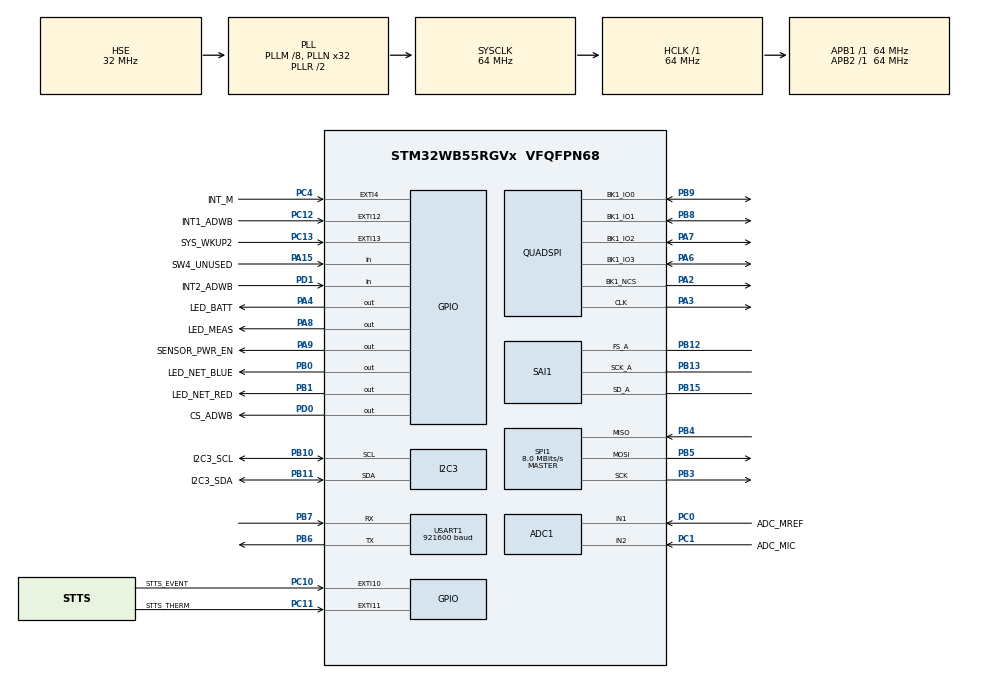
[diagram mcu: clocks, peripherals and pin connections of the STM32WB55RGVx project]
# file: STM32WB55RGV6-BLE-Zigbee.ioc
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ADC1.Channel-1\#ChannelRegularConversion=ADC_CHANNEL_1
ADC1.Channel-2\#ChannelRegularConversion=ADC_CHANNEL_2
ADC1.DMAContinuousRequests=ENABLE
ADC1.ExternalTrigConv=ADC_EXTERNALTRIG_T2_TRGO
ADC1.NbrOfConversion=2
ADC1.NbrOfConversionFlag=1
ADC1.OffsetNumber-1\#ChannelRegularConversion=ADC_OFFSET_NONE
ADC1.OffsetNumber-2\#ChannelRegularConversion=ADC_OFFSET_NONE
ADC1.Overrun=ADC_OVR_DATA_OVERWRITTEN
ADC1.Rank-1\#ChannelRegularConversion=1
ADC1.Rank-2\#ChannelRegularConversion=2
ADC1.SamplingTime-1\#ChannelRegularConversion=ADC_SAMPLETIME_47CYCLES_5
ADC1.SamplingTime-2\#ChannelRegularConversion=ADC_SAMPLETIME_47CYCLES_5
ADC1.master=1
Dma.ADC1.3.Direction=DMA_PERIPH_TO_MEMORY
Dma.ADC1.3.EventEnable=DISABLE
Dma.ADC1.3.Instance=DMA1_Channel4
Dma.ADC1.3.MemDataAlignment=DMA_MDATAALIGN_HALFWORD
Dma.ADC1.3.MemInc=DMA_MINC_ENABLE
Dma.ADC1.3.Mode=DMA_CIRCULAR
Dma.ADC1.3.PeriphDataAlignment=DMA_PDATAALIGN_HALFWORD
Dma.ADC1.3.PeriphInc=DMA_PINC_DISABLE
Dma.ADC1.3.Polarity=HAL_DMAMUX_REQ_GEN_RISING
Dma.ADC1.3.Priority=DMA_PRIORITY_VERY_HIGH
Dma.ADC1.3.RequestNumber=1
Dma.ADC1.3.SignalID=NONE
Dma.ADC1.3.SyncEnable=DISABLE
Dma.ADC1.3.SyncPolarity=HAL_DMAMUX_SYNC_NO_EVENT
Dma.ADC1.3.SyncRequestNumber=1
Dma.ADC1.3.SyncSignalID=NONE
Dma.Request0=SPI1_RX
Dma.Request1=SPI1_TX
Dma.Request2=SAI1_A
Dma.Request3=ADC1
Dma.Request4=USART1_TX
Dma.Request5=QUADSPI
Dma.QUADSPI.5.Direction=DMA_MEMORY_TO_PERIPH
Dma.QUADSPI.5.EventEnable=DISABLE
Dma.QUADSPI.5.Instance=DMA1_Channel6
Dma.QUADSPI.5.MemDataAlignment=DMA_MDATAALIGN_BYTE
Dma.QUADSPI.5.MemInc=DMA_MINC_ENABLE
Dma.QUADSPI.5.Mode=DMA_NORMAL
Dma.QUADSPI.5.PeriphDataAlignment=DMA_PDATAALIGN_BYTE
Dma.QUADSPI.5.PeriphInc=DMA_PINC_DISABLE
Dma.QUADSPI.5.Polarity=HAL_DMAMUX_REQ_GEN_RISING
Dma.QUADSPI.5.Priority=DMA_PRIORITY_HIGH
Dma.QUADSPI.5.RequestNumber=1
Dma.QUADSPI.5.SignalID=NONE
Dma.QUADSPI.5.SyncEnable=DISABLE
Dma.QUADSPI.5.SyncPolarity=HAL_DMAMUX_SYNC_NO_EVENT
Dma.QUADSPI.5.SyncRequestNumber=1
Dma.QUADSPI.5.SyncSignalID=NONE
Dma.SAI1_A.2.Direction=DMA_PERIPH_TO_MEMORY
Dma.SAI1_A.2.EventEnable=DISABLE
Dma.SAI1_A.2.Instance=DMA1_Channel3
Dma.SAI1_A.2.MemDataAlignment=DMA_MDATAALIGN_WORD
Dma.SAI1_A.2.MemInc=DMA_MINC_ENABLE
Dma.SAI1_A.2.Mode=DMA_CIRCULAR
Dma.SAI1_A.2.PeriphDataAlignment=DMA_PDATAALIGN_WORD
Dma.SAI1_A.2.PeriphInc=DMA_PINC_DISABLE
Dma.SAI1_A.2.Polarity=HAL_DMAMUX_REQ_GEN_RISING
Dma.SAI1_A.2.Priority=DMA_PRIORITY_VERY_HIGH
Dma.SAI1_A.2.RequestNumber=1
Dma.SAI1_A.2.SignalID=NONE
Dma.SAI1_A.2.SyncEnable=DISABLE
Dma.SAI1_A.2.SyncPolarity=HAL_DMAMUX_SYNC_NO_EVENT
Dma.SAI1_A.2.SyncRequestNumber=1
Dma.SAI1_A.2.SyncSignalID=NONE
Dma.SPI1_RX.0.Direction=DMA_PERIPH_TO_MEMORY
Dma.SPI1_RX.0.EventEnable=DISABLE
Dma.SPI1_RX.0.Instance=DMA1_Channel1
Dma.SPI1_RX.0.MemDataAlignment=DMA_MDATAALIGN_BYTE
Dma.SPI1_RX.0.MemInc=DMA_MINC_ENABLE
Dma.SPI1_RX.0.Mode=DMA_NORMAL
Dma.SPI1_RX.0.PeriphDataAlignment=DMA_PDATAALIGN_BYTE
Dma.SPI1_RX.0.PeriphInc=DMA_PINC_DISABLE
Dma.SPI1_RX.0.Polarity=HAL_DMAMUX_REQ_GEN_RISING
Dma.SPI1_RX.0.Priority=DMA_PRIORITY_HIGH
Dma.SPI1_RX.0.RequestNumber=1
Dma.SPI1_RX.0.SignalID=NONE
Dma.SPI1_RX.0.SyncEnable=DISABLE
Dma.SPI1_RX.0.SyncPolarity=HAL_DMAMUX_SYNC_NO_EVENT
Dma.SPI1_RX.0.SyncRequestNumber=1
Dma.SPI1_RX.0.SyncSignalID=NONE
Dma.SPI1_TX.1.Direction=DMA_MEMORY_TO_PERIPH
Dma.SPI1_TX.1.EventEnable=DISABLE
Dma.SPI1_TX.1.Instance=DMA1_Channel2
Dma.SPI1_TX.1.MemDataAlignment=DMA_MDATAALIGN_BYTE
Dma.SPI1_TX.1.MemInc=DMA_MINC_ENABLE
Dma.SPI1_TX.1.Mode=DMA_NORMAL
Dma.SPI1_TX.1.PeriphDataAlignment=DMA_PDATAALIGN_BYTE
Dma.SPI1_TX.1.PeriphInc=DMA_PINC_DISABLE
Dma.SPI1_TX.1.Polarity=HAL_DMAMUX_REQ_GEN_RISING
Dma.SPI1_TX.1.Priority=DMA_PRIORITY_MEDIUM
Dma.SPI1_TX.1.RequestNumber=1
Dma.SPI1_TX.1.SignalID=NONE
Dma.SPI1_TX.1.SyncEnable=DISABLE
Dma.SPI1_TX.1.SyncPolarity=HAL_DMAMUX_SYNC_NO_EVENT
Dma.SPI1_TX.1.SyncRequestNumber=1
Dma.SPI1_TX.1.SyncSignalID=NONE
Dma.USART1_TX.4.Direction=DMA_MEMORY_TO_PERIPH
Dma.USART1_TX.4.EventEnable=DISABLE
Dma.USART1_TX.4.Instance=DMA1_Channel5
Dma.USART1_TX.4.MemDataAlignment=DMA_MDATAALIGN_BYTE
Dma.USART1_TX.4.MemInc=DMA_MINC_ENABLE
Dma.USART1_TX.4.Mode=DMA_NORMAL
Dma.USART1_TX.4.PeriphDataAlignment=DMA_PDATAALIGN_BYTE
Dma.USART1_TX.4.PeriphInc=DMA_PINC_DISABLE
Dma.USART1_TX.4.Polarity=HAL_DMAMUX_REQ_GEN_RISING
Dma.USART1_TX.4.Priority=DMA_PRIORITY_LOW
Dma.USART1_TX.4.RequestNumber=1
Dma.USART1_TX.4.SignalID=NONE
Dma.USART1_TX.4.SyncEnable=DISABLE
Dma.USART1_TX.4.SyncPolarity=HAL_DMAMUX_SYNC_NO_EVENT
Dma.USART1_TX.4.SyncRequestNumber=1
Dma.USART1_TX.4.SyncSignalID=NONE
I2C3.I2C_Rise_Time=400
I2C3.Timing=0x10B17DB5
Mcu.Family=STM32WB
Mcu.Name=STM32WB55RGVx
Mcu.Package=VFQFPN68
NVIC.DMA1_Channel1_IRQn=true\:4\:0\:true\:false\:true\:false\:true\:true
NVIC.DMA1_Channel2_IRQn=true\:4\:0\:true\:false\:true\:false\:true\:true
NVIC.DMA1_Channel3_IRQn=true\:3\:0\:true\:false\:true\:false\:true\:true
NVIC.DMA1_Channel4_IRQn=true\:3\:0\:true\:false\:true\:false\:true\:true
NVIC.DMA1_Channel5_IRQn=true\:7\:0\:true\:false\:true\:false\:true\:true
NVIC.DMA1_Channel6_IRQn=true\:5\:0\:true\:false\:true\:false\:true\:true
NVIC.EXTI15_10_IRQn=true\:5\:0\:true\:false\:true\:true\:true\:true
NVIC.EXTI4_IRQn=true\:5\:0\:true\:false\:true\:true\:true\:true
NVIC.HSEM_IRQn=true\:0\:0\:false\:false\:true\:false\:true\:true
NVIC.IPCC_C1_RX_IRQn=true\:0\:0\:false\:false\:true\:true\:true\:true
NVIC.IPCC_C1_TX_IRQn=true\:0\:0\:false\:false\:true\:true\:true\:true
NVIC.PriorityGroup=NVIC_PRIORITYGROUP_4
NVIC.QUADSPI_IRQn=true\:5\:0\:true\:false\:true\:true\:true\:true
NVIC.RNG_IRQn=true\:0\:0\:false\:false\:true\:true\:true\:true
NVIC.RTC_WKUP_IRQn=true\:6\:0\:true\:false\:true\:true\:true\:true
NVIC.USART1_IRQn=true\:7\:0\:true\:false\:true\:true\:true\:true
OSC_IN.Mode=HSE-External-Oscillator
OSC_IN.Signal=RCC_OSC_IN
OSC_OUT.Mode=HSE-External-Oscillator
OSC_OUT.Signal=RCC_OSC_OUT
PA13.Mode=Serial_Wire
PA13.Signal=SYS_JTMS-SWDIO
PA14.Mode=Serial_Wire
PA14.Signal=SYS_JTCK-SWCLK
PA15.GPIO_Label=SW4_UNUSED
PA15.GPIO_PuPd=GPIO_NOPULL
PA15.Signal=GPIO_Input
PA2.GPIO_Speed=GPIO_SPEED_FREQ_HIGH
PA2.Mode=Single Bank 1
PA2.Signal=QUADSPI_BK1_NCS
PA3.GPIO_Speed=GPIO_SPEED_FREQ_HIGH
PA3.Mode=Single Bank 1
PA3.Signal=QUADSPI_CLK
PA4.GPIO_Label=LED_BATT
PA4.PinState=GPIO_PIN_SET
PA4.GPIO_Pu=GPIO_PULLUP
PA4.Signal=GPIO_Output
PA6.GPIO_Speed=GPIO_SPEED_FREQ_HIGH
PA6.Mode=Single Bank 1
PA6.Signal=QUADSPI_BK1_IO3
PA7.GPIO_Speed=GPIO_SPEED_FREQ_HIGH
PA7.Mode=Single Bank 1
PA7.Signal=QUADSPI_BK1_IO2
PA8.GPIO_Label=LED_MEAS
PA8.PinState=GPIO_PIN_SET
PA8.GPIO_Pu=GPIO_PULLUP
PA8.Signal=GPIO_Output
PA9.GPIO_Label=SENSOR_PWR_EN
PA9.GPIO_PuPd=GPIO_NOPULL
PA9.Signal=GPIO_Output
PB0.GPIO_Label=LED_NET_BLUE
PB0.PinState=GPIO_PIN_SET
PB0.Signal=GPIO_Output
PB1.GPIO_Label=LED_NET_RED
PB1.PinState=GPIO_PIN_RESET
PB1.Signal=GPIO_Output
PB10.GPIO_Label=I2C3_SCL
PB10.GPIO_Speed=GPIO_SPEED_FREQ_VERY_HIGH
PB10.Mode=I2C
PB10.Signal=I2C3_SCL
PB11.GPIO_Label=I2C3_SDA
PB11.GPIO_Speed=GPIO_SPEED_FREQ_VERY_HIGH
PB11.Mode=I2C
PB11.Signal=I2C3_SDA
PB12.Mode=SAI_A_Master
PB12.Signal=SAI1_FS_A
PB13.Mode=SAI_A_Master
PB13.Signal=SAI1_SCK_A
PB15.Mode=SAI_A_Master
PB15.Signal=SAI1_SD_A
PB3.Mode=Full_Duplex_Master
PB3.Signal=SPI1_SCK
PB4.Mode=Full_Duplex_Master
PB4.Signal=SPI1_MISO
PB5.Mode=Full_Duplex_Master
PB5.Signal=SPI1_MOSI
PB6.Mode=Asynchronous
PB6.Signal=USART1_TX
PB7.Mode=Asynchronous
PB7.Signal=USART1_RX
PB8.GPIO_Speed=GPIO_SPEED_FREQ_HIGH
PB8.Mode=Single Bank 1
PB8.Signal=QUADSPI_BK1_IO1
PB9.GPIO_Speed=GPIO_SPEED_FREQ_HIGH
PB9.Mode=Single Bank 1
PB9.Signal=QUADSPI_BK1_IO0
PC0.GPIO_Label=ADC_MREF
PC0.Signal=ADCx_IN1
PC1.GPIO_Label=ADC_MIC
PC1.Signal=ADCx_IN2
PC10.GPIO_Label=STTS_EVENT
PC10.GPIO_ModeDefaultEXTI=GPIO_MODE_IT_FALLING
PC10.Signal=GPXTI10
PC11.GPIO_Label=STTS_THERM
PC11.GPIO_ModeDefaultEXTI=GPIO_MODE_IT_FALLING
PC11.Signal=GPXTI11
PC12.GPIO_Label=INT1_ADWB
PC12.Signal=GPXTI12
PC13.GPIO_Label=SYS_WKUP2
PC13.GPIO_ModeDefaultEXTI=GPIO_MODE_IT_FALLING
PC13.GPIO_PuPd=GPIO_PULLUP
PC13.Signal=GPXTI13
PC4.GPIO_Label=INT_M
PC4.GPIO_ModeDefaultEXTI=GPIO_MODE_IT_RISING
PC4.Signal=GPXTI4
PC14-OSC32_IN.Mode=LSE-External-Oscillator
PC14-OSC32_IN.Signal=RCC_OSC32_IN
PC15-OSC32_OUT.Mode=LSE-External-Oscillator
PC15-OSC32_OUT.Signal=RCC_OSC32_OUT
PD0.GPIO_Label=CS_ADWB
PD0.GPIO_Speed=GPIO_SPEED_FREQ_VERY_HIGH
PD0.PinState=GPIO_PIN_SET
PD0.Signal=GPIO_Output
PD1.GPIO_Label=INT2_ADWB
PD1.Signal=GPIO_Input
ProjectManager.HeapSize=0x400
ProjectManager.StackSize=0x1000
ProjectManager.TargetToolchain=STM32CubeIDE
QUADSPI.ChipSelectHighTime=QSPI_CS_HIGH_TIME_2_CYCLE
QUADSPI.ClockPrescaler=3
QUADSPI.FifoThreshold=4
QUADSPI.FlashSize=22
QUADSPI.SampleShifting=QSPI_SAMPLE_SHIFTING_HALFCYCLE
RCC.ADCFreq_Value=48000000
RCC.AHB2CLKDivider=RCC_SYSCLK_DIV2
RCC.AHBFreq_Value=64000000
RCC.APB1Freq_Value=64000000
RCC.APB1TimFreq_Value=64000000
RCC.APB2Freq_Value=64000000
RCC.APB2TimFreq_Value=64000000
RCC.APB3Freq_Value=16000000
RCC.CK48CLockSelection=RCC_USBCLKSOURCE_HSI48
RCC.Cortex2_Div=SYSTICK_CLKSOURCE_HCLK_DIV8
RCC.CortexFreq_Value=64000000
RCC.HCLKFreq_Value=64000000
RCC.HSE_VALUE=32000000
RCC.HSI48_VALUE=48000000
RCC.HSI_VALUE=16000000
RCC.MSIClockRange=RCC_MSIRANGE_11
RCC.PLLM=RCC_PLLM_DIV8
RCC.PLLN=32
RCC.PLLQ=RCC_PLLQ_DIV2
RCC.PLLSAI1N=24
RCC.PLLSourceVirtual=RCC_PLLSOURCE_HSE
RCC.RFWKPClockSelection=RCC_RFWKPCLKSOURCE_LSE
RCC.RNGCLockSelection=RCC_RNGCLKSOURCE_CLK48
RCC.RTCClockSelection=RCC_RTCCLKSOURCE_LSE
RCC.SMPSCLockSelection=RCC_SMPSCLKSOURCE_HSE
RCC.SMPSDivider=4
RCC.SYSCLKFreq_VALUE=64000000
RCC.SYSCLKSource=RCC_SYSCLKSOURCE_PLLCLK
RCC.USBFreq_Value=48000000
RCC.VCOOutputFreq_Value=128000000
RF1.Mode=RF1_Activate
RF1.Signal=RF_RF1
RTC.WakeUpCounter-WakeUp=65535
SAI1.AudioFrequency-SAI_A_Master=SAI_AUDIO_FREQUENCY_48K
SAI1.AudioMode-SAI_A_Master=SAI_MODEMASTER_RX
SAI1.BasicDataSize-SAI_A_Master=SAI_PROTOCOL_DATASIZE_24BIT
SAI1.ErrorAudioFreq-SAI_A_Master=-2.34 %
SAI1.FIFOThreshold-SAI_A_Master=SAI_FIFOTHRESHOLD_1QF
SAI1.InitProtocol-SAI_A_Master=Enable
SAI1.Instance-SAI_A_Master=SAI$Index_Block_A
SAI1.MClockEnable-SAI_A_Master=SAI_MASTERCLOCK_DISABLE
SAI1.NoDivider-SAI_A_Master=SAI_MASTERDIVIDER_ENABLE
SAI1.RealAudioFreq-SAI_A_Master=46.875 KHz
SAI1.VirtualMode-SAI_A_Master=VM_MASTER
SAI1.VirtualProtocol-SAI_A_BASIC=VM_BASIC_PROTOCOL
SH.ADCx_IN1.0=ADC1_IN1,IN1-Single-Ended
SH.ADCx_IN2.0=ADC1_IN2,IN2-Single-Ended
SPI1.BaudRatePrescaler=SPI_BAUDRATEPRESCALER_8
SPI1.CLKPhase=SPI_PHASE_1EDGE
SPI1.CLKPolarity=SPI_POLARITY_LOW
SPI1.CalculateBaudRate=8.0 MBits/s
SPI1.DataSize=SPI_DATASIZE_8BIT
SPI1.Direction=SPI_DIRECTION_2LINES
SPI1.Mode=SPI_MODE_MASTER
SPI1.VirtualType=VM_MASTER
STM32_WPAN.AD_TYPE_COMPLETE_LOCAL_NAME=WB55_DT1
STM32_WPAN.AD_TYPE_COMPLETE_LOCAL_NAME_LENGTH=9
STM32_WPAN.CFG_BLE_MAX_ATT_MTU=251
STM32_WPAN.CFG_BLE_MAX_TX_POWER=6
STM32_WPAN.CFG_BLE_MIN_TX_POWER=-40
STM32_WPAN.CFG_BLE_NUM_LINK=1
STM32_WPAN.CFG_DEBUG_TRACE_UART=hw_uart1
STM32_WPAN.CFG_GAP_DEVICE_NAME=WB55_DT1
STM32_WPAN.CFG_GAP_DEVICE_NAME_LENGTH=8
STM32_WPAN.CFG_HW_USART1_ENABLED=1
STM32_WPAN.CFG_LSCLK_LSE=0
STM32_WPAN.CFG_MITM_PROTECTION=CFG_MITM_PROTECTION_NOT_REQUIRED
STM32_WPAN.CFG_TX_POWER=(0x19) /* 0dBm */
STM32_WPAN.CFG_USE_SMPS=0
STM32_WPAN.CUSTOM_P2P_SERVER=Disabled
STM32_WPAN.CUSTOM_TEMPLATE=Enabled
STM32_WPAN.GAP_PERIPHERAL_ROLE=1
STM32_WPAN.INCLUDE_AD_TYPE_COMPLETE_LOCAL_NAME=1
STM32_WPAN.L2CAP_REQUEST_NEW_CONN_PARAM=1
STM32_WPAN.LOCAL_NAME=WB55_DT1
STM32_WPAN.LOCAL_NAME_FORMATTED=,'W','B','5','5','_','D','T','1'
STM32_WPAN.NUMBER_OF_SERVICES=2
STM32_WPAN.P2P_SERVER_NUMBER=P2P_SERVER1
STM32_WPAN.SERVICE1_CHAR1_GATT_NOTIFY_NOTIFICATION_COMPLETION=GATT_NOTIFY_NOTIFICATION_COMPLETION
STM32_WPAN.SERVICE1_CHAR1_GATT_NOTIFY_READ_REQ_AND_WAIT_FOR_APPL_RESP=\ 
STM32_WPAN.SERVICE1_CHAR1_GATT_NOTIFY_WRITE_REQ_AND_WAIT_FOR_APPL_RESP=\ 
STM32_WPAN.SERVICE1_CHAR1_LENGTH_CHARACTERISTIC=CHAR_VALUE_LEN_VARIABLE
STM32_WPAN.SERVICE1_CHAR1_LONG_NAME=SENSOR_STATUS_CHAR
STM32_WPAN.SERVICE1_CHAR1_PROP_NOTIFY=CHAR_PROP_NOTIFY
STM32_WPAN.SERVICE1_CHAR1_SHORT_NAME=SENSOR_STATUS
STM32_WPAN.SERVICE1_CHAR1_UUID=FE 81
STM32_WPAN.SERVICE1_CHAR1_UUID_TYPE=0x01
STM32_WPAN.SERVICE1_CHAR1_VALUE_LENGTH=32
STM32_WPAN.SERVICE1_CHAR2_GATT_NOTIFY_READ_REQ_AND_WAIT_FOR_APPL_RESP=\ 
STM32_WPAN.SERVICE1_CHAR2_GATT_NOTIFY_WRITE_REQ_AND_WAIT_FOR_APPL_RESP=\ 
STM32_WPAN.SERVICE1_CHAR2_LENGTH_CHARACTERISTIC=CHAR_VALUE_LEN_VARIABLE
STM32_WPAN.SERVICE1_CHAR2_LONG_NAME=SENSOR_CTRL_CHAR
STM32_WPAN.SERVICE1_CHAR2_PROP_READ=CHAR_PROP_READ
STM32_WPAN.SERVICE1_CHAR2_PROP_WRITE_WITHOUT_RESP=CHAR_PROP_WRITE_WITHOUT_RESP
STM32_WPAN.SERVICE1_CHAR2_SHORT_NAME=SENSOR_CTRL
STM32_WPAN.SERVICE1_CHAR2_UUID=FE 82
STM32_WPAN.SERVICE1_CHAR2_UUID_TYPE=0x01
STM32_WPAN.SERVICE1_CHAR2_VALUE_LENGTH=4
STM32_WPAN.SERVICE1_CHAR3_GATT_NOTIFY_READ_REQ_AND_WAIT_FOR_APPL_RESP=\ 
STM32_WPAN.SERVICE1_CHAR3_GATT_NOTIFY_WRITE_REQ_AND_WAIT_FOR_APPL_RESP=\ 
STM32_WPAN.SERVICE1_CHAR3_LENGTH_CHARACTERISTIC=CHAR_VALUE_LEN_VARIABLE
STM32_WPAN.SERVICE1_CHAR3_LONG_NAME=DT_THROUGH_CHAR
STM32_WPAN.SERVICE1_CHAR3_PROP_NOTIFY=CHAR_PROP_NOTIFY
STM32_WPAN.SERVICE1_CHAR3_SHORT_NAME=THROUGH_CHAR
STM32_WPAN.SERVICE1_CHAR3_UUID=FE 83
STM32_WPAN.SERVICE1_CHAR3_UUID_TYPE=0x01
STM32_WPAN.SERVICE1_CHAR3_VALUE_LENGTH=255
STM32_WPAN.SERVICE1_LONG_NAME=SENSOR_SERVICE
STM32_WPAN.SERVICE1_NUMBER_OF_CHARACTERISTICS=2
STM32_WPAN.SERVICE1_SHORT_NAME=SENSOR
STM32_WPAN.SERVICE1_UUID=FE 80
STM32_WPAN.SERVICE1_UUID_TYPE=0x01
STM32_WPAN.SERVICE2_CHAR1_GATT_NOTIFY_NOTIFICATION_COMPLETION=GATT_NOTIFY_NOTIFICATION_COMPLETION
STM32_WPAN.SERVICE2_CHAR1_GATT_NOTIFY_READ_REQ_AND_WAIT_FOR_APPL_RESP=\ 
STM32_WPAN.SERVICE2_CHAR1_GATT_NOTIFY_WRITE_REQ_AND_WAIT_FOR_APPL_RESP=\ 
STM32_WPAN.SERVICE2_CHAR1_LENGTH_CHARACTERISTIC=CHAR_VALUE_LEN_VARIABLE
STM32_WPAN.SERVICE2_CHAR1_LONG_NAME=VIB_WAVE_CHAR
STM32_WPAN.SERVICE2_CHAR1_PROP_NOTIFY=CHAR_PROP_NOTIFY
STM32_WPAN.SERVICE2_CHAR1_SHORT_NAME=VIB_WAVE
STM32_WPAN.SERVICE2_CHAR1_UUID=FE 91
STM32_WPAN.SERVICE2_CHAR1_UUID_TYPE=0x01
STM32_WPAN.SERVICE2_CHAR1_VALUE_LENGTH=244
STM32_WPAN.SERVICE2_CHAR2_GATT_NOTIFY_READ_REQ_AND_WAIT_FOR_APPL_RESP=\ 
STM32_WPAN.SERVICE2_CHAR2_GATT_NOTIFY_WRITE_REQ_AND_WAIT_FOR_APPL_RESP=\ 
STM32_WPAN.SERVICE2_CHAR2_LENGTH_CHARACTERISTIC=CHAR_VALUE_LEN_VARIABLE
STM32_WPAN.SERVICE2_CHAR2_LONG_NAME=VIB_CTRL_CHAR
STM32_WPAN.SERVICE2_CHAR2_PROP_READ=CHAR_PROP_READ
STM32_WPAN.SERVICE2_CHAR2_PROP_WRITE_WITHOUT_RESP=CHAR_PROP_WRITE_WITHOUT_RESP
STM32_WPAN.SERVICE2_CHAR2_SHORT_NAME=VIB_CTRL
STM32_WPAN.SERVICE2_CHAR2_UUID=FE 92
STM32_WPAN.SERVICE2_CHAR2_UUID_TYPE=0x01
STM32_WPAN.SERVICE2_CHAR2_VALUE_LENGTH=4
STM32_WPAN.SERVICE2_LONG_NAME=VIB_SERVICE
STM32_WPAN.SERVICE2_NUMBER_OF_CHARACTERISTICS=2
STM32_WPAN.SERVICE2_SHORT_NAME=VIB
STM32_WPAN.SERVICE2_UUID=FE 90
STM32_WPAN.SERVICE2_UUID_TYPE=0x01
TIM2.Period=249
TIM2.TIM_MasterOutputTrigger=TIM_TRGO_UPDATE
USART1.BaudRate=921600
USART1.VirtualMode-Asynchronous=VM_ASYNC
VP_HSEM_VS_HSEM.Mode=HSEM_Activate
VP_IPCC_VS_IPCC.Mode=IPCC_Activate
VP_MEMORYMAP_VS_MEMORYMAP.Mode=CurAppReg
VP_RNG_VS_RNG.Mode=RNG_Activate
VP_RTC_VS_RTC_Activate.Mode=RTC_Enabled
VP_RTC_VS_RTC_WakeUp_intern.Mode=WakeUp
VP_SAI1_VP_$IpInstance_SAIA_SAI_BASIC.Mode=SAI_A_BASIC
VP_SEQUENCER_VS_SEQUENCER.Mode=SEQUENCER_Enabled
VP_STM32_WPAN_VS_BLE_HOST.Mode=STM32_WPAN_Enabled
VP_TIM2_VS_ClockSourceINT.Mode=Internal
VP_TINY_LPM_VS_TINY_LPM.Mode=TINY_LPM_Enabled
board=custom

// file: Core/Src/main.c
/* USER CODE BEGIN Header */
/**
  ******************************************************************************
  * @file           : main.c
  * @brief          : Main program body
  ******************************************************************************
  * @attention
  *
  * Copyright (c) 2026 STMicroelectronics.
  * All rights reserved.
  *
  * This software is licensed under terms that can be found in the LICENSE file
  * in the root directory of this software component.
  * If no LICENSE file comes with this software, it is provided AS-IS.
  *
  ******************************************************************************
  */
/* USER CODE END Header */
#include "main.h"

/* USER CODE BEGIN Includes */
#include "custom_app.h"
#include "app_entry.h"
#include "download_reset.h"
#include "zigbee_vibration_store.h"
#include <stdio.h>
#include <string.h>

/* USER CODE END Includes */

ADC_HandleTypeDef hadc1;
DMA_HandleTypeDef hdma_adc1;

I2C_HandleTypeDef hi2c3;

IPCC_HandleTypeDef hipcc;

QSPI_HandleTypeDef hqspi;
DMA_HandleTypeDef hdma_quadspi;

RNG_HandleTypeDef hrng;

RTC_HandleTypeDef hrtc;

SAI_HandleTypeDef hsai_BlockA1;
DMA_HandleTypeDef hdma_sai1_a;

SPI_HandleTypeDef hspi1;
DMA_HandleTypeDef hdma_spi1_rx;
DMA_HandleTypeDef hdma_spi1_tx;

TIM_HandleTypeDef htim2;

UART_HandleTypeDef huart1;
DMA_HandleTypeDef hdma_usart1_tx;

/* USER CODE BEGIN PV */
/* Downloaded anew even when the application binary did not change. Runtime
   never programs over this double word: erase its dedicated page first (ECC). */
static const uint64_t DownloadResetImage
    __attribute__((section(".download_reset"), used, aligned(8))) = DOWNLOAD_RESET_ARMED;
#include "node_console.h"
/* USER CODE END PV */

void SystemClock_Config(void);
void PeriphCommonClock_Config(void);
static void MX_GPIO_Init(void);
static void MX_DMA_Init(void);
static void MX_IPCC_Init(void);
static void MX_RNG_Init(void);
static void MX_RTC_Init(void);
static void MX_USART1_UART_Init(void);
static void MX_SPI1_Init(void);
static void MX_I2C3_Init(void);
static void MX_ADC1_Init(void);
static void MX_TIM2_Init(void);
static void MX_SAI1_Init(void);
static void MX_QUADSPI_Init(void);
static void MX_RF_Init(void);

/* USER CODE BEGIN 0 */
static void DownloadReset_Log(const char *message)
{
  (void)HAL_UART_Transmit(&huart1, (uint8_t *)message,
                         (uint16_t)strlen(message), 1000U);
}

static uint64_t DownloadReset_Marker(void *context)
{
  UNUSED(context);
  return *(volatile const uint64_t *)(uintptr_t)DOWNLOAD_RESET_ADDRESS;
}

static int DownloadReset_DiscardRecords(void *context)
{
  UNUSED(context);
  /* This runs BEFORE MX_APPE_Init starts CPU2. Never bypass the existing
     dual-core Flash arbitration if a debug session left CPU2 running. */
  if ((PWR->CR4 & PWR_CR4_C2BOOT) != 0U) {
    DownloadReset_Log("FLASH-CLEAR: CPU2 already running; use hardware reset/Connect under reset\r\n");
    return 0;
  }
  DownloadReset_Log("FLASH-CLEAR: download detected; invalidating old collection records (no external erase)\r\n");
  return ZigbeeVibrationStore_ResetRecords() == HAL_OK;
}

static int DownloadReset_Commit(void *context)
{
  UNUSED(context);
  _Static_assert(FLASH_PAGE_SIZE == DOWNLOAD_RESET_PAGE_BYTES, "download marker page geometry");
  if ((PWR->CR4 & PWR_CR4_C2BOOT) != 0U ||
      (uintptr_t)&DownloadResetImage != DOWNLOAD_RESET_ADDRESS) return 0;
  if (HAL_FLASH_Unlock() != HAL_OK) return 0;
  __HAL_FLASH_CLEAR_FLAG(FLASH_FLAG_OPTVERR);
  FLASH_EraseInitTypeDef erase = {0};
  erase.TypeErase = FLASH_TYPEERASE_PAGES;
  erase.Page = (DOWNLOAD_RESET_ADDRESS - FLASH_BASE) / FLASH_PAGE_SIZE;
  erase.NbPages = 1U;
  uint32_t error_page = UINT32_MAX;
  HAL_StatusTypeDef status = HAL_FLASHEx_Erase(&erase, &error_page);
  if (status == HAL_OK && error_page == UINT32_MAX)
    status = HAL_FLASH_Program(FLASH_TYPEPROGRAM_DOUBLEWORD,
                               DOWNLOAD_RESET_ADDRESS, DOWNLOAD_RESET_DONE);
  else status = HAL_ERROR;
  if (HAL_FLASH_Lock() != HAL_OK) status = HAL_ERROR;
  if (READ_BIT(FLASH->ACR, FLASH_ACR_DCEN) != 0U) {
    __HAL_FLASH_DATA_CACHE_DISABLE();
    __HAL_FLASH_DATA_CACHE_RESET();
    __HAL_FLASH_DATA_CACHE_ENABLE();
  }
  return status == HAL_OK;
}

static void DownloadReset_Boot(void)
{
  const DownloadResetIO io = {NULL, DownloadReset_Marker, DownloadReset_DiscardRecords, DownloadReset_Commit};
  int result = download_reset_run(&io);
  if (result < 0) {
    DownloadReset_Log("FLASH-CLEAR: FAILED; sampling/radio NOT started; reset to retry cleanup\r\n");
    Error_Handler();
  }
  DownloadReset_Log(result ? "FLASH-CLEAR: complete; old records invalidated; payload retained; marker committed\r\n" :
                            "FLASH-CLEAR: already completed for this download; cached data retained\r\n");
}
/* USER CODE END 0 */

int main(void)
{

  /* MCU Configuration--------------------------------------------------------*/

  /* Reset of all peripherals, Initializes the Flash interface and the Systick. */
  HAL_Init();
  /* Config code for STM32_WPAN (HSE Tuning must be done before system clock configuration) */
  MX_APPE_Config();

  /* Configure the system clock */
  SystemClock_Config();

  /* Configure the peripherals common clocks */
  PeriphCommonClock_Config();

  /* IPCC initialisation */
  MX_IPCC_Init();

  /* Initialize all configured peripherals */
  MX_GPIO_Init();
  MX_DMA_Init();
  MX_RNG_Init();
  MX_RTC_Init();
  APP_TimebaseReset();
  MX_USART1_UART_Init();
  MX_SPI1_Init();
  MX_QUADSPI_Init();
  MX_I2C3_Init();
  MX_ADC1_Init();
  MX_TIM2_Init();
  MX_SAI1_Init();
  MX_RF_Init();
  /* USER CODE BEGIN 2 */
  /* Keep the power LED on while the application is running. */
  HAL_GPIO_WritePin(LED_BATT_GPIO_Port, LED_BATT_Pin, GPIO_PIN_RESET);
  char uart_test[64];
  uint32_t boot_ms = APP_ElapsedMs();
  int uart_test_len = snprintf(uart_test, sizeof(uart_test),
                               "[+%lu.%03lus] USART1 OK\r\n",
                               (unsigned long)(boot_ms / 1000U),
                               (unsigned long)(boot_ms % 1000U));
  if (uart_test_len > 0)
  {
    HAL_UART_Transmit(&huart1, (uint8_t *)uart_test,
                      (uint16_t)uart_test_len, 100U);
  }
  DownloadReset_Boot();
  /* USER CODE END 2 */

  /* Init code for STM32_WPAN */
  MX_APPE_Init();
  NodeConsole_Init();

  /* Infinite loop */
  while (1)
  {
    /* Drain latency-sensitive sensor DMA halves before a sequencer batch. */
    Custom_APP_Process();
    MX_APPE_Process();

    /* USER CODE BEGIN 3 */
    static uint8_t main_loop_logged = 0U;
    if (main_loop_logged == 0U)
    {
      static const uint8_t loop_msg[] = "MAIN: sequencer running\r\n";
      main_loop_logged = 1U;
      (void)HAL_UART_Transmit(&huart1, (uint8_t *)loop_msg,
                             sizeof(loop_msg) - 1U, 100U);
    }
    /* Service sensor DMA again after CPU2/BLE/Zigbee work. */
    Custom_APP_Process();
  }
  /* USER CODE END 3 */
}

void SystemClock_Config(void)
{
  RCC_OscInitTypeDef RCC_OscInitStruct = {0};
  RCC_ClkInitTypeDef RCC_ClkInitStruct = {0};

  /** Configure LSE Drive Capability
  */
  HAL_PWR_EnableBkUpAccess();
  __HAL_RCC_LSEDRIVE_CONFIG(RCC_LSEDRIVE_MEDIUMHIGH);

  /** Configure the main internal regulator output voltage
  */
  __HAL_PWR_VOLTAGESCALING_CONFIG(PWR_REGULATOR_VOLTAGE_SCALE1);

  /** Initializes the RCC Oscillators according to the specified parameters
  * in the RCC_OscInitTypeDef structure.
  */
  RCC_OscInitStruct.OscillatorType = RCC_OSCILLATORTYPE_HSI48|RCC_OSCILLATORTYPE_HSI
                              |RCC_OSCILLATORTYPE_HSE|RCC_OSCILLATORTYPE_LSE;
  RCC_OscInitStruct.HSEState = RCC_HSE_ON;
  RCC_OscInitStruct.LSEState = RCC_LSE_ON;
  RCC_OscInitStruct.HSIState = RCC_HSI_ON;
  RCC_OscInitStruct.HSI48State = RCC_HSI48_ON;
  RCC_OscInitStruct.HSICalibrationValue = RCC_HSICALIBRATION_DEFAULT;
  RCC_OscInitStruct.PLL.PLLState = RCC_PLL_ON;
  RCC_OscInitStruct.PLL.PLLSource = RCC_PLLSOURCE_HSE;
  RCC_OscInitStruct.PLL.PLLM = RCC_PLLM_DIV8;
  RCC_OscInitStruct.PLL.PLLN = 32;
  RCC_OscInitStruct.PLL.PLLP = RCC_PLLP_DIV2;
  RCC_OscInitStruct.PLL.PLLR = RCC_PLLR_DIV2;
  RCC_OscInitStruct.PLL.PLLQ = RCC_PLLQ_DIV2;
  if (HAL_RCC_OscConfig(&RCC_OscInitStruct) != HAL_OK)
  {
    Error_Handler();
  }

  /** Configure the SYSCLKSource, HCLK, PCLK1 and PCLK2 clocks dividers
  */
  RCC_ClkInitStruct.ClockType = RCC_CLOCKTYPE_HCLK4|RCC_CLOCKTYPE_HCLK2
                              |RCC_CLOCKTYPE_HCLK|RCC_CLOCKTYPE_SYSCLK
                              |RCC_CLOCKTYPE_PCLK1|RCC_CLOCKTYPE_PCLK2;
  RCC_ClkInitStruct.SYSCLKSource = RCC_SYSCLKSOURCE_PLLCLK;
  RCC_ClkInitStruct.AHBCLKDivider = RCC_SYSCLK_DIV1;
  RCC_ClkInitStruct.APB1CLKDivider = RCC_HCLK_DIV1;
  RCC_ClkInitStruct.APB2CLKDivider = RCC_HCLK_DIV1;
  RCC_ClkInitStruct.AHBCLK2Divider = RCC_SYSCLK_DIV2;
  RCC_ClkInitStruct.AHBCLK4Divider = RCC_SYSCLK_DIV1;

  if (HAL_RCC_ClockConfig(&RCC_ClkInitStruct, FLASH_LATENCY_3) != HAL_OK)
  {
    Error_Handler();
  }
}

void PeriphCommonClock_Config(void)
{
  RCC_PeriphCLKInitTypeDef PeriphClkInitStruct = {0};

  /** Initializes the peripherals clock
  */
  PeriphClkInitStruct.PeriphClockSelection = RCC_PERIPHCLK_SMPS|RCC_PERIPHCLK_RFWAKEUP
                              |RCC_PERIPHCLK_SAI1|RCC_PERIPHCLK_ADC;
  PeriphClkInitStruct.PLLSAI1.PLLN = 24;
  PeriphClkInitStruct.PLLSAI1.PLLP = RCC_PLLP_DIV2;
  PeriphClkInitStruct.PLLSAI1.PLLQ = RCC_PLLQ_DIV2;
  PeriphClkInitStruct.PLLSAI1.PLLR = RCC_PLLR_DIV2;
  PeriphClkInitStruct.PLLSAI1.PLLSAI1ClockOut = RCC_PLLSAI1_SAI1CLK|RCC_PLLSAI1_ADCCLK;
  PeriphClkInitStruct.Sai1ClockSelection = RCC_SAI1CLKSOURCE_PLLSAI1;
  PeriphClkInitStruct.AdcClockSelection = RCC_ADCCLKSOURCE_PLLSAI1;
  PeriphClkInitStruct.RFWakeUpClockSelection = RCC_RFWKPCLKSOURCE_LSE;
  PeriphClkInitStruct.SmpsClockSelection = RCC_SMPSCLKSOURCE_HSE;
  PeriphClkInitStruct.SmpsDivSelection = RCC_SMPSCLKDIV_RANGE1;

  if (HAL_RCCEx_PeriphCLKConfig(&PeriphClkInitStruct) != HAL_OK)
  {
    Error_Handler();
  }
}

static void MX_ADC1_Init(void)
{

  ADC_ChannelConfTypeDef sConfig = {0};

  /** Common config
  */
  hadc1.Instance = ADC1;
  hadc1.Init.ClockPrescaler = ADC_CLOCK_ASYNC_DIV1;
  hadc1.Init.Resolution = ADC_RESOLUTION_12B;
  hadc1.Init.DataAlign = ADC_DATAALIGN_RIGHT;
  hadc1.Init.ScanConvMode = ADC_SCAN_ENABLE;
  hadc1.Init.EOCSelection = ADC_EOC_SINGLE_CONV;
  hadc1.Init.LowPowerAutoWait = DISABLE;
  hadc1.Init.ContinuousConvMode = DISABLE;
  hadc1.Init.NbrOfConversion = 2;
  hadc1.Init.DiscontinuousConvMode = DISABLE;
  hadc1.Init.ExternalTrigConv = ADC_EXTERNALTRIG_T2_TRGO;
  hadc1.Init.ExternalTrigConvEdge = ADC_EXTERNALTRIGCONVEDGE_RISING;
  hadc1.Init.DMAContinuousRequests = ENABLE;
  hadc1.Init.Overrun = ADC_OVR_DATA_OVERWRITTEN;
  hadc1.Init.OversamplingMode = DISABLE;
  if (HAL_ADC_Init(&hadc1) != HAL_OK)
  {
    Error_Handler();
  }

  /** Configure Regular Channel
  */
  sConfig.Channel = ADC_CHANNEL_1;
  sConfig.Rank = ADC_REGULAR_RANK_1;
  sConfig.SamplingTime = ADC_SAMPLETIME_47CYCLES_5;
  sConfig.SingleDiff = ADC_SINGLE_ENDED;
  sConfig.OffsetNumber = ADC_OFFSET_NONE;
  sConfig.Offset = 0;
  if (HAL_ADC_ConfigChannel(&hadc1, &sConfig) != HAL_OK)
  {
    Error_Handler();
  }

  /** Configure Regular Channel
  */
  sConfig.Channel = ADC_CHANNEL_2;
  sConfig.Rank = ADC_REGULAR_RANK_2;
  if (HAL_ADC_ConfigChannel(&hadc1, &sConfig) != HAL_OK)
  {
    Error_Handler();
  }

}

static void MX_I2C3_Init(void)
{

  hi2c3.Instance = I2C3;
  hi2c3.Init.Timing = 0x10B17DB5;
  hi2c3.Init.OwnAddress1 = 0;
  hi2c3.Init.AddressingMode = I2C_ADDRESSINGMODE_7BIT;
  hi2c3.Init.DualAddressMode = I2C_DUALADDRESS_DISABLE;
  hi2c3.Init.OwnAddress2 = 0;
  hi2c3.Init.OwnAddress2Masks = I2C_OA2_NOMASK;
  hi2c3.Init.GeneralCallMode = I2C_GENERALCALL_DISABLE;
  hi2c3.Init.NoStretchMode = I2C_NOSTRETCH_DISABLE;
  if (HAL_I2C_Init(&hi2c3) != HAL_OK)
  {
    Error_Handler();
  }

  /** Configure Analogue filter
  */
  if (HAL_I2CEx_ConfigAnalogFilter(&hi2c3, I2C_ANALOGFILTER_ENABLE) != HAL_OK)
  {
    Error_Handler();
  }

  /** Configure Digital filter
  */
  if (HAL_I2CEx_ConfigDigitalFilter(&hi2c3, 0) != HAL_OK)
  {
    Error_Handler();
  }

}

static void MX_IPCC_Init(void)
{

  hipcc.Instance = IPCC;
  if (HAL_IPCC_Init(&hipcc) != HAL_OK)
  {
    Error_Handler();
  }

}

static void MX_RF_Init(void)
{

}

static void MX_QUADSPI_Init(void)
{

  hqspi.Instance = QUADSPI;
  hqspi.Init.ClockPrescaler = 3;
  hqspi.Init.FifoThreshold = 4;
  hqspi.Init.SampleShifting = QSPI_SAMPLE_SHIFTING_HALFCYCLE;
  hqspi.Init.FlashSize = 22;
  hqspi.Init.ChipSelectHighTime = QSPI_CS_HIGH_TIME_2_CYCLE;
  hqspi.Init.ClockMode = QSPI_CLOCK_MODE_0;
  if (HAL_QSPI_Init(&hqspi) != HAL_OK)
  {
    Error_Handler();
  }

}

static void MX_RNG_Init(void)
{

  hrng.Instance = RNG;
  hrng.Init.ClockErrorDetection = RNG_CED_ENABLE;
  if (HAL_RNG_Init(&hrng) != HAL_OK)
  {
    Error_Handler();
  }

}

static void MX_RTC_Init(void)
{

  /** Initialize RTC Only
  */
  hrtc.Instance = RTC;
  hrtc.Init.HourFormat = RTC_HOURFORMAT_24;
  hrtc.Init.AsynchPrediv = CFG_RTC_ASYNCH_PRESCALER;
  hrtc.Init.SynchPrediv = CFG_RTC_SYNCH_PRESCALER;
  hrtc.Init.OutPut = RTC_OUTPUT_DISABLE;
  hrtc.Init.OutPutPolarity = RTC_OUTPUT_POLARITY_HIGH;
  hrtc.Init.OutPutType = RTC_OUTPUT_TYPE_OPENDRAIN;
  hrtc.Init.OutPutRemap = RTC_OUTPUT_REMAP_NONE;
  if (HAL_RTC_Init(&hrtc) != HAL_OK)
  {
    Error_Handler();
  }

  /** Enable the WakeUp
  */
  if (HAL_RTCEx_SetWakeUpTimer_IT(&hrtc, 65535, RTC_WAKEUPCLOCK_RTCCLK_DIV16) != HAL_OK)
  {
    Error_Handler();
  }

}

static void MX_SAI1_Init(void)
{

  hsai_BlockA1.Instance = SAI1_Block_A;
  hsai_BlockA1.Init.AudioMode = SAI_MODEMASTER_RX;
  hsai_BlockA1.Init.Synchro = SAI_ASYNCHRONOUS;
  hsai_BlockA1.Init.OutputDrive = SAI_OUTPUTDRIVE_DISABLE;
  hsai_BlockA1.Init.NoDivider = SAI_MASTERDIVIDER_ENABLE;
  hsai_BlockA1.Init.MckOverSampling = SAI_MCK_OVERSAMPLING_DISABLE;
  hsai_BlockA1.Init.FIFOThreshold = SAI_FIFOTHRESHOLD_1QF;
  hsai_BlockA1.Init.AudioFrequency = SAI_AUDIO_FREQUENCY_48K;
  hsai_BlockA1.Init.SynchroExt = SAI_SYNCEXT_DISABLE;
  hsai_BlockA1.Init.MonoStereoMode = SAI_STEREOMODE;
  hsai_BlockA1.Init.CompandingMode = SAI_NOCOMPANDING;
  if (HAL_SAI_InitProtocol(&hsai_BlockA1, SAI_I2S_STANDARD, SAI_PROTOCOL_DATASIZE_24BIT, 2) != HAL_OK)
  {
    Error_Handler();
  }

}

static void MX_SPI1_Init(void)
{

  /* SPI1 parameter configuration*/
  hspi1.Instance = SPI1;
  hspi1.Init.Mode = SPI_MODE_MASTER;
  hspi1.Init.Direction = SPI_DIRECTION_2LINES;
  hspi1.Init.DataSize = SPI_DATASIZE_8BIT;
  hspi1.Init.CLKPolarity = SPI_POLARITY_LOW;
  hspi1.Init.CLKPhase = SPI_PHASE_1EDGE;
  hspi1.Init.NSS = SPI_NSS_SOFT;
  hspi1.Init.BaudRatePrescaler = SPI_BAUDRATEPRESCALER_8;
  hspi1.Init.FirstBit = SPI_FIRSTBIT_MSB;
  hspi1.Init.TIMode = SPI_TIMODE_DISABLE;
  hspi1.Init.CRCCalculation = SPI_CRCCALCULATION_DISABLE;
  hspi1.Init.CRCPolynomial = 7;
  hspi1.Init.CRCLength = SPI_CRC_LENGTH_DATASIZE;
  hspi1.Init.NSSPMode = SPI_NSS_PULSE_DISABLE;
  if (HAL_SPI_Init(&hspi1) != HAL_OK)
  {
    Error_Handler();
  }

}

static void MX_TIM2_Init(void)
{

  TIM_ClockConfigTypeDef sClockSourceConfig = {0};
  TIM_MasterConfigTypeDef sMasterConfig = {0};

  htim2.Instance = TIM2;
  htim2.Init.Prescaler = 0;
  htim2.Init.CounterMode = TIM_COUNTERMODE_UP;
  htim2.Init.Period = 249;
  htim2.Init.ClockDivision = TIM_CLOCKDIVISION_DIV1;
  htim2.Init.AutoReloadPreload = TIM_AUTORELOAD_PRELOAD_DISABLE;
  if (HAL_TIM_Base_Init(&htim2) != HAL_OK)
  {
    Error_Handler();
  }
  sClockSourceConfig.ClockSource = TIM_CLOCKSOURCE_INTERNAL;
  if (HAL_TIM_ConfigClockSource(&htim2, &sClockSourceConfig) != HAL_OK)
  {
    Error_Handler();
  }
  sMasterConfig.MasterOutputTrigger = TIM_TRGO_UPDATE;
  sMasterConfig.MasterSlaveMode = TIM_MASTERSLAVEMODE_DISABLE;
  if (HAL_TIMEx_MasterConfigSynchronization(&htim2, &sMasterConfig) != HAL_OK)
  {
    Error_Handler();
  }

}

static void MX_USART1_UART_Init(void)
{

  huart1.Instance = USART1;
  huart1.Init.BaudRate = 921600;
  huart1.Init.WordLength = UART_WORDLENGTH_8B;
  huart1.Init.StopBits = UART_STOPBITS_1;
  huart1.Init.Parity = UART_PARITY_NONE;
  huart1.Init.Mode = UART_MODE_TX_RX;
  huart1.Init.HwFlowCtl = UART_HWCONTROL_NONE;
  huart1.Init.OverSampling = UART_OVERSAMPLING_8;
  huart1.Init.OneBitSampling = UART_ONE_BIT_SAMPLE_DISABLE;
  huart1.Init.ClockPrescaler = UART_PRESCALER_DIV1;
  huart1.AdvancedInit.AdvFeatureInit = UART_ADVFEATURE_NO_INIT;
  if (HAL_UART_Init(&huart1) != HAL_OK)
  {
    Error_Handler();
  }
  if (HAL_UARTEx_SetTxFifoThreshold(&huart1, UART_TXFIFO_THRESHOLD_1_8) != HAL_OK)
  {
    Error_Handler();
  }
  if (HAL_UARTEx_SetRxFifoThreshold(&huart1, UART_RXFIFO_THRESHOLD_1_8) != HAL_OK)
  {
    Error_Handler();
  }
  if (HAL_UARTEx_DisableFifoMode(&huart1) != HAL_OK)
  {
    Error_Handler();
  }
  /* USER CODE BEGIN USART1_Init 2 */
  /* Buffer short command bursts at 921600 while CPU1 services Zigbee work. */
  if(HAL_UARTEx_EnableFifoMode(&huart1)!=HAL_OK)Error_Handler();
  /* USER CODE END USART1_Init 2 */

}

static void MX_DMA_Init(void)
{

  /* DMA controller clock enable */
  __HAL_RCC_DMAMUX1_CLK_ENABLE();
  __HAL_RCC_DMA1_CLK_ENABLE();

  /* DMA interrupt init */
  /* DMA1_Channel1_IRQn interrupt configuration */
  HAL_NVIC_SetPriority(DMA1_Channel1_IRQn, 4, 0);
  HAL_NVIC_EnableIRQ(DMA1_Channel1_IRQn);
  /* DMA1_Channel2_IRQn interrupt configuration */
  HAL_NVIC_SetPriority(DMA1_Channel2_IRQn, 4, 0);
  HAL_NVIC_EnableIRQ(DMA1_Channel2_IRQn);
  /* DMA1_Channel3_IRQn interrupt configuration */
  HAL_NVIC_SetPriority(DMA1_Channel3_IRQn, 3, 0);
  HAL_NVIC_EnableIRQ(DMA1_Channel3_IRQn);
  /* DMA1_Channel4_IRQn interrupt configuration */
  HAL_NVIC_SetPriority(DMA1_Channel4_IRQn, 3, 0);
  HAL_NVIC_EnableIRQ(DMA1_Channel4_IRQn);
  /* DMA1_Channel5_IRQn interrupt configuration */
  HAL_NVIC_SetPriority(DMA1_Channel5_IRQn, 7, 0);
  HAL_NVIC_EnableIRQ(DMA1_Channel5_IRQn);
  /* DMA1_Channel6 serves only the Zigbee waveform Flash writer. */
  HAL_NVIC_SetPriority(DMA1_Channel6_IRQn, 5, 0);
  HAL_NVIC_EnableIRQ(DMA1_Channel6_IRQn);

}

static void MX_GPIO_Init(void)
{
  GPIO_InitTypeDef GPIO_InitStruct = {0};

  /* GPIO Ports Clock Enable */
  __HAL_RCC_GPIOC_CLK_ENABLE();
  __HAL_RCC_GPIOA_CLK_ENABLE();
  __HAL_RCC_GPIOB_CLK_ENABLE();
  __HAL_RCC_GPIOD_CLK_ENABLE();

  /*Configure GPIO pin Output Level */
  HAL_GPIO_WritePin(GPIOA, LED_BATT_Pin|LED_MEAS_Pin, GPIO_PIN_SET);

  /*Configure GPIO pin Output Level */
  HAL_GPIO_WritePin(SENSOR_PWR_EN_GPIO_Port, SENSOR_PWR_EN_Pin, GPIO_PIN_RESET);

  /* Network LEDs are active low: disconnected starts red, with blue off. */
  HAL_GPIO_WritePin(LED_NET_BLUE_GPIO_Port, LED_NET_BLUE_Pin, GPIO_PIN_SET);
  HAL_GPIO_WritePin(LED_NET_RED_GPIO_Port, LED_NET_RED_Pin, GPIO_PIN_RESET);

  /*Configure GPIO pin Output Level */
  HAL_GPIO_WritePin(CS_ADWB_GPIO_Port, CS_ADWB_Pin, GPIO_PIN_SET);

  /*Configure GPIO pin : SYS_WKUP2_Pin */
  GPIO_InitStruct.Pin = SYS_WKUP2_Pin;
  GPIO_InitStruct.Mode = GPIO_MODE_IT_FALLING;
  GPIO_InitStruct.Pull = GPIO_PULLUP;
  HAL_GPIO_Init(SYS_WKUP2_GPIO_Port, &GPIO_InitStruct);

  /*Configure GPIO pin : SENSOR_PWR_EN_Pin */
  GPIO_InitStruct.Pin = SENSOR_PWR_EN_Pin;
  GPIO_InitStruct.Mode = GPIO_MODE_OUTPUT_PP;
  GPIO_InitStruct.Pull = GPIO_NOPULL;
  GPIO_InitStruct.Speed = GPIO_SPEED_FREQ_LOW;
  HAL_GPIO_Init(GPIOA, &GPIO_InitStruct);

  /* Keep the active-low power LED firmly off while STOP2 is active. */
  GPIO_InitStruct.Pin = LED_BATT_Pin;
  GPIO_InitStruct.Mode = GPIO_MODE_OUTPUT_PP;
  GPIO_InitStruct.Pull = GPIO_PULLUP;
  GPIO_InitStruct.Speed = GPIO_SPEED_FREQ_LOW;
  HAL_GPIO_Init(LED_BATT_GPIO_Port, &GPIO_InitStruct);

  /* Keep the active-low measurement LED firmly off while idle. */
  GPIO_InitStruct.Pin = LED_MEAS_Pin;
  GPIO_InitStruct.Mode = GPIO_MODE_OUTPUT_PP;
  GPIO_InitStruct.Pull = GPIO_PULLUP;
  GPIO_InitStruct.Speed = GPIO_SPEED_FREQ_LOW;
  HAL_GPIO_Init(LED_MEAS_GPIO_Port, &GPIO_InitStruct);

  /*Configure GPIO pins : LED_NET_BLUE_Pin LED_NET_RED_Pin */
  GPIO_InitStruct.Pin = LED_NET_BLUE_Pin|LED_NET_RED_Pin;
  GPIO_InitStruct.Mode = GPIO_MODE_OUTPUT_PP;
  GPIO_InitStruct.Pull = GPIO_NOPULL;
  GPIO_InitStruct.Speed = GPIO_SPEED_FREQ_LOW;
  HAL_GPIO_Init(GPIOB, &GPIO_InitStruct);

  /*Configure GPIO pin : SW4_UNUSED_Pin */
  GPIO_InitStruct.Pin = SW4_UNUSED_Pin;
  GPIO_InitStruct.Mode = GPIO_MODE_INPUT;
  GPIO_InitStruct.Pull = GPIO_NOPULL;
  HAL_GPIO_Init(SW4_UNUSED_GPIO_Port, &GPIO_InitStruct);

  /*Configure GPIO pin : INT_M_Pin */
  GPIO_InitStruct.Pin = INT_M_Pin;
  GPIO_InitStruct.Mode = GPIO_MODE_IT_RISING;
  GPIO_InitStruct.Pull = GPIO_NOPULL;
  HAL_GPIO_Init(INT_M_GPIO_Port, &GPIO_InitStruct);

  /*Configure GPIO pins : STTS_EVENT_Pin STTS_THERM_Pin */
  GPIO_InitStruct.Pin = STTS_EVENT_Pin|STTS_THERM_Pin;
  GPIO_InitStruct.Mode = GPIO_MODE_IT_FALLING;
  GPIO_InitStruct.Pull = GPIO_NOPULL;
  HAL_GPIO_Init(GPIOC, &GPIO_InitStruct);

  /*Configure GPIO pin : INT1_ADWB_Pin */
  GPIO_InitStruct.Pin = INT1_ADWB_Pin;
  GPIO_InitStruct.Mode = GPIO_MODE_IT_RISING;
  GPIO_InitStruct.Pull = GPIO_NOPULL;
  HAL_GPIO_Init(INT1_ADWB_GPIO_Port, &GPIO_InitStruct);

  /*Configure GPIO pin : CS_ADWB_Pin */
  GPIO_InitStruct.Pin = CS_ADWB_Pin;
  GPIO_InitStruct.Mode = GPIO_MODE_OUTPUT_PP;
  GPIO_InitStruct.Pull = GPIO_NOPULL;
  GPIO_InitStruct.Speed = GPIO_SPEED_FREQ_VERY_HIGH;
  HAL_GPIO_Init(CS_ADWB_GPIO_Port, &GPIO_InitStruct);

  /*Configure GPIO pin : INT2_ADWB_Pin */
  GPIO_InitStruct.Pin = INT2_ADWB_Pin;
  GPIO_InitStruct.Mode = GPIO_MODE_INPUT;
  GPIO_InitStruct.Pull = GPIO_NOPULL;
  HAL_GPIO_Init(INT2_ADWB_GPIO_Port, &GPIO_InitStruct);

  /* EXTI interrupt init*/
  HAL_NVIC_SetPriority(EXTI4_IRQn, 5, 0);
  HAL_NVIC_EnableIRQ(EXTI4_IRQn);

  HAL_NVIC_SetPriority(EXTI15_10_IRQn, 5, 0);
  HAL_NVIC_EnableIRQ(EXTI15_10_IRQn);

}

void Error_Handler(void)
{
  /* USER CODE BEGIN Error_Handler_Debug */
  static const uint8_t error_msg[] = "FAULT: Error_Handler\r\n";
  (void)HAL_UART_Transmit(&huart1, (uint8_t *)error_msg,
                         sizeof(error_msg) - 1U, 100U);
  /* User can add his own implementation to report the HAL error return state */
  __disable_irq();
  while (1)
  {
    HAL_GPIO_TogglePin(LED_NET_BLUE_GPIO_Port, LED_NET_BLUE_Pin);
    HAL_Delay(100);
  }
  /* USER CODE END Error_Handler_Debug */
}
